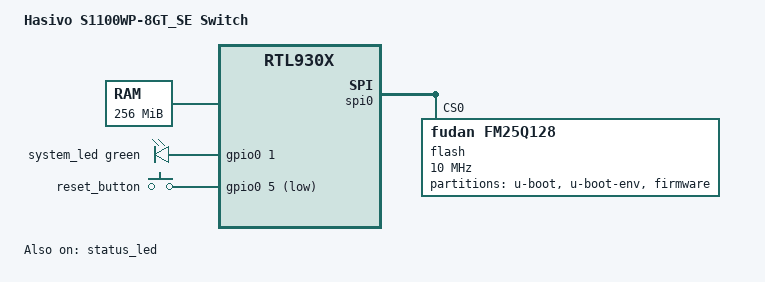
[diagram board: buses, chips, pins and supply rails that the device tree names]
// SPDX-License-Identifier: (GPL-2.0-or-later OR MIT)
/dts-v1/;

#include <dt-bindings/gpio/gpio.h>
#include <dt-bindings/input/input.h>
#include <dt-bindings/leds/common.h>
#include <dt-bindings/leds/leds-realtek.h>

#include "rtl9303.dtsi"
#include "rtl9303_common_8c.dtsi"

/ {
	compatible = "hasivo,s1100wp-8gt_se", "realtek,rtl9303-soc", "realtek,rtl930x-soc";
	model = "Hasivo S1100WP-8GT_SE Switch";

/*
	i2c_gpio {
		compatible = "i2c-gpio";
		#address-cells = <1>;
		#size-cells = <0>;
		i2c-gpio,delay-us = <2>;
		scl-gpios = <&gpio0 22 (GPIO_ACTIVE_HIGH | GPIO_OPEN_DRAIN)>;
		sda-gpios = <&gpio0 23 (GPIO_ACTIVE_HIGH | GPIO_OPEN_DRAIN)>;
	};
*/

	led_set {
		compatible = "realtek,rtl9303-leds", "realtek,rtl9300-leds";
		active-high;
		led_set0 = /bits/ 16 <
			/* LED0 */
			(
				RTL93XX_LED_SET_LINK_ACTIVITY |
				RTL93XX_LED_SET_LINK_UP_SOLID |
				RTL93XX_LED_SET_10G_LINK
			)
			/* LED1 */
			(
				RTL93XX_LED_SET_LINK_ACTIVITY |
				RTL93XX_LED_SET_LINK_UP_SOLID |
				RTL93XX_LED_SET_2G5_LINK
			)
			/* LED2 */
			(
				RTL93XX_LED_SET_LINK_ACTIVITY |
				RTL93XX_LED_SET_LINK_UP_SOLID |
				RTL93XX_LED_SET_1000M_LINK |
				RTL93XX_LED_SET_100M_LINK |
				RTL93XX_LED_SET_10M_LINK
			)
		>;
	};

	memory@0 {
		reg = <0x0 0x10000000>; /* 256 MiB */
		device_type = "memory";
	};

	leds {
		system_led: led_status {
			color = <LED_COLOR_ID_GREEN>;
			function = LED_FUNCTION_HEARTBEAT;
			gpios = <&gpio0 1 GPIO_ACTIVE_HIGH>;
			heartbeat;
		};
	};
};
/*
&crypto0 {
	status = "disabled";
};
*/
&reset_button {
	status = "okay";
	gpios = <&gpio0 5 GPIO_ACTIVE_LOW>;
};

&status_led {
	status = "okay";
};

&spi0 {
	status = "okay";
	flash@0 {
		compatible = "fudan,fm25q128", "winbond,w25q256jv", "jedec,spi-nor";
		reg = <0>;
		/*spi-tx-width = <4>;*/
		/*spi-rx-width = <4>;*/
		/*spi-max-frequency = <104000000>;*/
		spi-max-frequency = <10000000>;

		partitions: partitions {
			compatible = "fixed-partitions";
			#address-cells = <1>;
			#size-cells = <1>;

			partition@0 {
				reg = <0x0 0xe0000>;
				label = "u-boot";
				read-only;
			};

			partition@e0000 {
				reg = <0xe0000 0x10000>;
				label = "u-boot-env";
			};

			partition@f0000 {
				reg = <0xf0000 0x1f10000>;
				compatible = "openwrt,uimage", "denx,uimage";
				label = "firmware";
			};
		};
	};
};

&switch0 {
	switch0_ports: ports {
		#address-cells = <1>;
		#size-cells = <0>;

		port@0 {
			reg = <0>;
			label = "lan1";
			led-num = <(
				RTL93XX_LED_NUM0 | /* Lime */
				RTL93XX_LED_NUM1 | /* Lime */
				RTL93XX_LED_NUM2   /* Lime */
			)>;
			led-set = <0>;
			phy-handle = <&phy0>;
			phy-mode = "hsgmii";
		};

		port@8 {
			reg = <8>;
			label = "lan2";
			led-num = <(
				RTL93XX_LED_NUM0 | /* Lime */
				RTL93XX_LED_NUM1 | /* Lime */
				RTL93XX_LED_NUM2   /* Lime */
			)>;
			led-set = <0>;
			phy-handle = <&phy8>;
			phy-mode = "hsgmii";
		};

		port@16 {
			reg = <16>;
			label = "lan3";
			led-num = <(
				RTL93XX_LED_NUM0 | /* Lime */
				RTL93XX_LED_NUM1 | /* Lime */
				RTL93XX_LED_NUM2   /* Lime */
			)>;
			led-set = <0>;
			phy-handle = <&phy16>;
			phy-mode = "hsgmii";
		};

		port@20 {
			reg = <20>;
			label = "lan4";
			led-num = <(
				RTL93XX_LED_NUM0 | /* Lime */
				RTL93XX_LED_NUM1 | /* Lime */
				RTL93XX_LED_NUM2   /* Lime */
			)>;
			led-set = <0>;
			phy-handle = <&phy20>;
			phy-mode = "hsgmii";
		};

		port@24 {
			reg = <24>;
			label = "lan5";
			led-num = <(
				RTL93XX_LED_NUM0 | /* Lime */
				RTL93XX_LED_NUM1 | /* Lime */
				RTL93XX_LED_NUM2   /* Lime */
			)>;
			led-set = <0>;
			phy-handle = <&phy24>;
			phy-mode = "hsgmii";
		};

		port@25 {
			reg = <25>;
			label = "lan6";
			led-num = <(
				RTL93XX_LED_NUM0 | /* Lime */
				RTL93XX_LED_NUM1 | /* Lime */
				RTL93XX_LED_NUM2   /* Lime */
			)>;
			led-set = <0>;
			phy-handle = <&phy25>;
			phy-mode = "hsgmii";
		};

		port@26 {
			reg = <26>;
			label = "lan7";
			led-num = <(
				RTL93XX_LED_NUM0 | /* Lime */
				RTL93XX_LED_NUM1 | /* Lime */
				RTL93XX_LED_NUM2   /* Lime */
			)>;
			led-set = <0>;
			phy-handle = <&phy26>;
			phy-mode = "hsgmii";
		};

		port@27 {
			reg = <27>;
			label = "lan8";
			led-num = <(
				RTL93XX_LED_NUM0 | /* Lime */
				RTL93XX_LED_NUM1 | /* Lime */
				RTL93XX_LED_NUM2   /* Lime */
			)>;
			led-set = <0>;
			phy-handle = <&phy27>;
			phy-mode = "hsgmii";
		};

		/* Internal SoC <-> Switch ethernet connection */
		port@28 {
			reg = <28>;
			ethernet = <&ethernet0>;
			phy-mode = "internal";
			fixed-link {
				speed = <1000>;
				full-duplex;
			};
		};
	};
};
